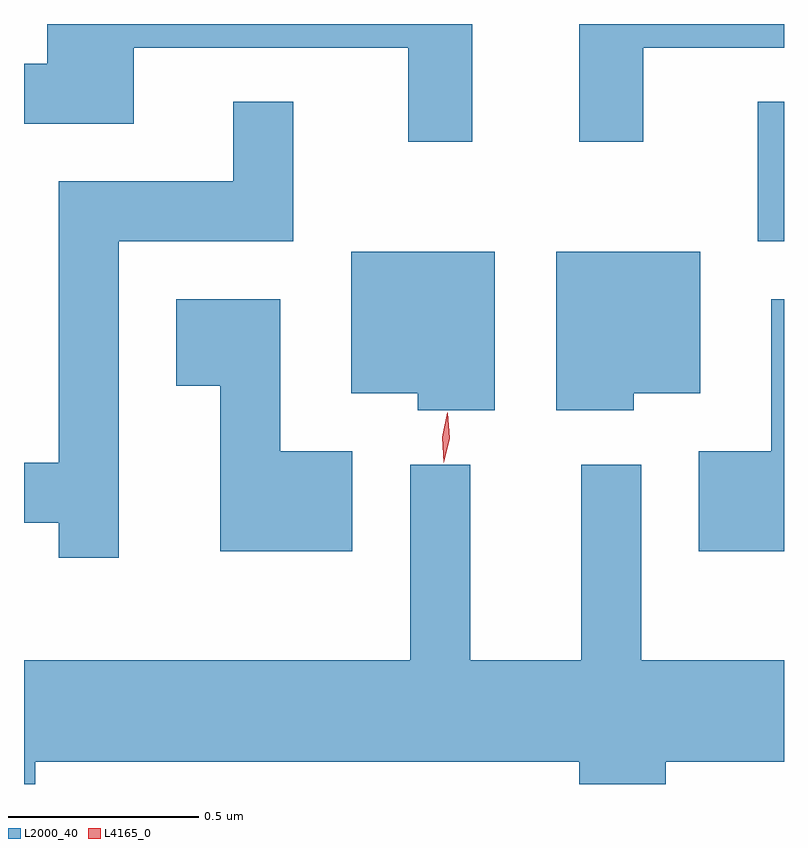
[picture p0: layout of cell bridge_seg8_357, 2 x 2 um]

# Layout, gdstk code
import gdstk
lib = gdstk.Library(unit=1e-6, precision=1e-09)
def R(c, l, rs):  # rectangles x0, y0, x1, y1
    for r in rs: c.add(gdstk.rectangle(r[:2], r[2:], *l))
def P(c, l, *ps):  # polygons
    for p in ps: c.add(gdstk.Polygon(p, *l))
L2000_40 = (2000, 40)
L4165_0 = (4165, 0)

bridge_seg8_357 = lib.new_cell('bridge_seg8_357')
R(bridge_seg8_357, L2000_40, [(725.311,1886.626,725.38,1886.993)])
P(bridge_seg8_357, L2000_40, [(725.009,1887.136),(725.38,1887.136),(725.38,1887.198),(724.841,1887.198),(724.841,1886.888),(725.009,1886.888)],
  [(724.559,1887.198),(723.441,1887.198),(723.441,1887.094),(723.38,1887.094),(723.38,1886.936),(723.669,1886.936),(723.669,1887.136),(724.391,1887.136),(724.391,1886.888),(724.559,1886.888)],
  [(723.629,1886.626),(724.089,1886.626),(724.089,1886.993),(723.931,1886.993),(723.931,1886.784),(723.471,1886.784),(723.471,1886.044),(723.38,1886.044),(723.38,1885.886),(723.471,1885.886),(723.471,1885.793),(723.629,1885.793)],
  [(724.619,1886.599),(724.241,1886.599),(724.241,1886.226),(724.416,1886.226),(724.416,1886.181),(724.619,1886.181)],
  [(724.984,1886.226),(725.159,1886.226),(725.159,1886.599),(724.781,1886.599),(724.781,1886.181),(724.984,1886.181)],
  [(724.244,1886.074),(724.054,1886.074),(724.054,1886.474),(723.781,1886.474),(723.781,1886.246),(723.896,1886.246),(723.896,1885.811),(724.244,1885.811)],
  [(725.38,1886.474),(725.346,1886.474),(725.346,1886.074),(725.156,1886.074),(725.156,1885.811),(725.38,1885.811)],
  [(725.069,1885.256),(725.38,1885.256),(725.38,1885.524),(725.004,1885.524),(725.004,1886.038),(724.846,1886.038),(724.846,1885.524),(724.554,1885.524),(724.554,1886.038),(724.396,1886.038),(724.396,1885.524),(723.38,1885.524),(723.38,1885.198),(723.409,1885.198),(723.409,1885.256),(724.841,1885.256),(724.841,1885.198),(725.069,1885.198)])
P(bridge_seg8_357, L4165_0, [(724.484,1886.043),(724.484,1886.043),(724.48,1886.11),(724.494,1886.175),(724.495,1886.175),(724.495,1886.175),(724.5,1886.108),(724.485,1886.043)])

lib.write_gds('bridge_seg8_357.gds')
